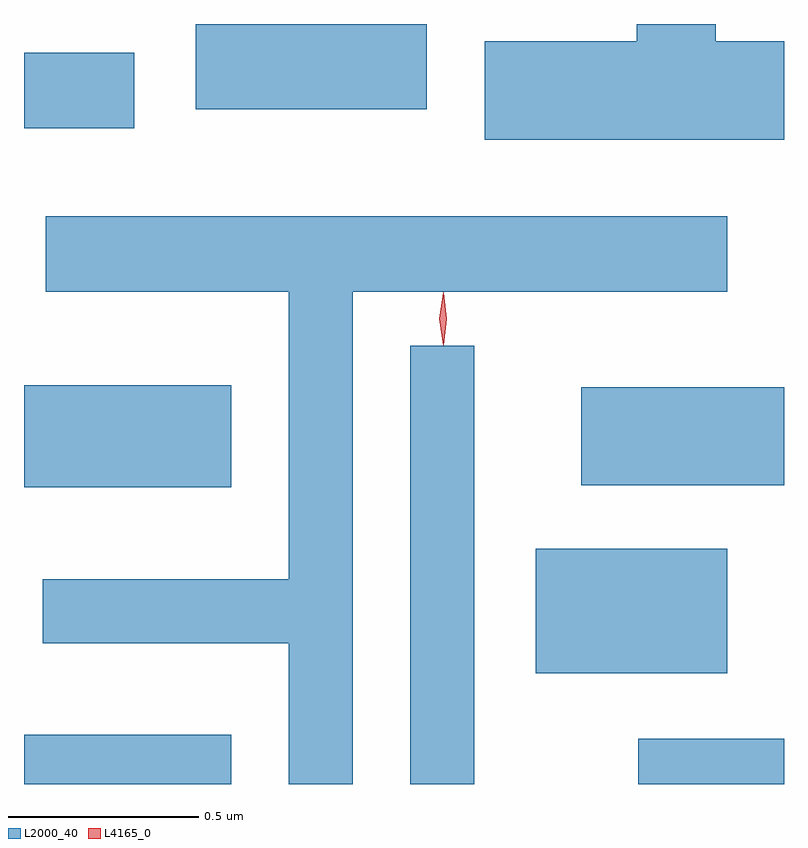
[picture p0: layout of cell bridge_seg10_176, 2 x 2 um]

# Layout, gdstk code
import gdstk
lib = gdstk.Library(unit=1e-6, precision=1e-09)
def R(c, l, rs):  # rectangles x0, y0, x1, y1
    for r in rs: c.add(gdstk.rectangle(r[:2], r[2:], *l))
def P(c, l, *ps):  # polygons
    for p in ps: c.add(gdstk.Polygon(p, *l))
L2000_40 = (2000, 40)
L4165_0 = (4165, 0)

bridge_seg10_176 = lib.new_cell('bridge_seg10_176')
R(bridge_seg10_176, L2000_40, [(1680.064,2141.02,1680.609,2141.149), (1681.081,2141.02,1681.249,2142.173), (1681.681,2141.02,1682.064,2141.139), (1681.411,2141.311,1681.914,2141.639), (1680.064,2141.801,1680.609,2142.069), (1681.531,2141.806,1682.064,2142.064), (1680.064,2142.746,1680.354,2142.944), (1680.516,2142.796,1681.124,2143.02)])
P(bridge_seg10_176, L2000_40, [(1682.064,2142.974),(1681.884,2142.974),(1681.884,2143.02),(1681.676,2143.02),(1681.676,2142.974),(1681.276,2142.974),(1681.276,2142.716),(1682.064,2142.716)],
  [(1680.929,2142.316),(1681.914,2142.316),(1681.914,2142.514),(1680.121,2142.514),(1680.121,2142.316),(1680.761,2142.316),(1680.761,2141.559),(1680.113,2141.559),(1680.113,2141.391),(1680.761,2141.391),(1680.761,2141.02),(1680.929,2141.02)])
P(bridge_seg10_176, L4165_0, [(1681.167,2142.178),(1681.167,2142.178),(1681.157,2142.244),(1681.167,2142.311),(1681.167,2142.311),(1681.168,2142.311),(1681.177,2142.244),(1681.168,2142.178)],
  [(1681.167,2142.174),(1681.167,2142.175),(1681.157,2142.244),(1681.167,2142.313),(1681.167,2142.314),(1681.168,2142.313),(1681.177,2142.244),(1681.168,2142.175)])

lib.write_gds('bridge_seg10_176.gds')
